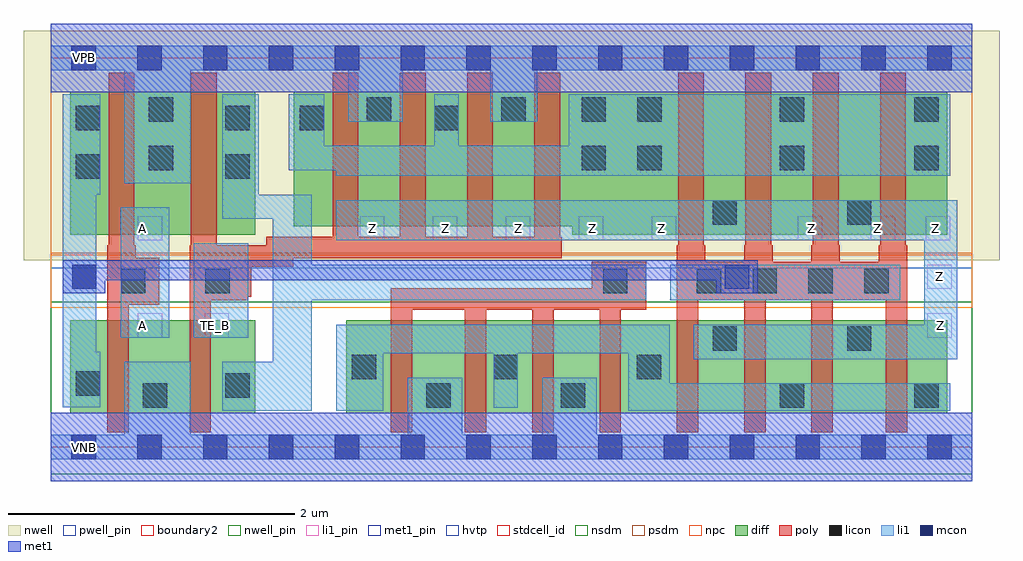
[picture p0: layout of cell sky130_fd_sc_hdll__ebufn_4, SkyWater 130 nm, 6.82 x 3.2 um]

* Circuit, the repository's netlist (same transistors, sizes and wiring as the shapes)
* Copyright 2020 The SkyWater PDK Authors
*
* Licensed under the Apache License, Version 2.0 (the "License");
* you may not use this file except in compliance with the License.
* You may obtain a copy of the License at
*
*     https://www.apache.org/licenses/LICENSE-2.0
*
* Unless required by applicable law or agreed to in writing, software
* distributed under the License is distributed on an "AS IS" BASIS,
* WITHOUT WARRANTIES OR CONDITIONS OF ANY KIND, either express or implied.
* See the License for the specific language governing permissions and
* limitations under the License.
*
* SPDX-License-Identifier: Apache-2.0

.SUBCKT sky130_fd_sc_hdll__ebufn_4 A TE_B VGND VNB VPB VPWR Z
*.PININFO A:I TE_B:I VGND:I VNB:I VPB:I VPWR:I Z:O
MMN0 Z net35 sndA VNB sky130_fd_pr__nfet_01v8 m=4 w=0.65U l=0.15U mult=1 sa=0.265
+ sb=0.265 sd=0.28 area=0.063 perim=1.14
MMN1 sndA net39 VGND VNB sky130_fd_pr__nfet_01v8 m=4 w=0.65U l=0.15U mult=1 sa=0.265
+ sb=0.265 sd=0.28 area=0.063 perim=1.14
MMIN1 net39 TE_B VGND VNB sky130_fd_pr__nfet_01v8 m=1 w=0.65U l=0.15U mult=1 sa=0.265
+ sb=0.265 sd=0.28 area=0.063 perim=1.14
MI6 net35 A VGND VNB sky130_fd_pr__nfet_01v8 m=1 w=0.65U l=0.15U mult=1 sa=0.265
+ sb=0.265 sd=0.28 area=0.063 perim=1.14
MMP0 VPWR TE_B sndTEB VPB sky130_fd_pr__pfet_01v8_hvt m=4 w=0.94U l=0.18U mult=1
+ sa=0.265 sb=0.265 sd=0.28 area=0.063 perim=1.14
MMP1 sndTEB net35 Z VPB sky130_fd_pr__pfet_01v8_hvt m=4 w=1.0U l=0.18U mult=1 sa=0.265
+ sb=0.265 sd=0.28 area=0.063 perim=1.14
MMIP1 net39 TE_B VPWR VPB sky130_fd_pr__pfet_01v8_hvt m=1 w=1.0U l=0.18U mult=1
+ sa=0.265 sb=0.265 sd=0.28 area=0.063 perim=1.14
MI5 net35 A VPWR VPB sky130_fd_pr__pfet_01v8_hvt m=1 w=1.0U l=0.18U mult=1 sa=0.265
+ sb=0.265 sd=0.28 area=0.063 perim=1.14
.ENDS sky130_fd_sc_hdll__ebufn_4

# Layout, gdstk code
import gdstk
lib = gdstk.Library(unit=1e-6, precision=1e-09)
def R(c, l, rs):  # rectangles x0, y0, x1, y1
    for r in rs: c.add(gdstk.rectangle(r[:2], r[2:], *l))
def A(c, l, x, y, w, h, nx, ny, dx, dy):  # array of equal rectangles
    R(c, l, [(x+i*dx, y+j*dy, x+i*dx+w, y+j*dy+h) for i in range(nx) for j in range(ny)])
def P(c, l, *ps):  # polygons
    for p in ps: c.add(gdstk.Polygon(p, *l))
nwell_pin = (64, 16)
nwell = (64, 20)
diff = (65, 20)
poly = (66, 20)
licon = (66, 44)
li1_pin = (67, 16)
li1 = (67, 20)
mcon = (67, 44)
met1_pin = (68, 16)
met1 = (68, 20)
hvtp = (78, 44)
stdcell_id = (81, 4)
nsdm = (93, 44)
psdm = (94, 20)
npc = (95, 20)
pwell_pin = (122, 16)
boundary2 = (236, 0)

sky130_fd_sc_hdll__ebufn = lib.new_cell('sky130_fd_sc_hdll__ebufn_4')
R(sky130_fd_sc_hdll__ebufn, nwell_pin, [(0.15,2.635,0.32,2.805)])
R(sky130_fd_sc_hdll__ebufn, nwell, [(-0.19,1.305,6.63,2.91)])
R(sky130_fd_sc_hdll__ebufn, diff, [(0.135,0.235,1.43,0.885), (2.065,0.235,6.265,0.885), (0.135,1.485,1.43,2.485)])
P(sky130_fd_sc_hdll__ebufn, diff, [(6.265,2.485),(1.7,2.485),(1.7,1.545),(3.645,1.545),(3.645,1.485),(6.265,1.485)])
P(sky130_fd_sc_hdll__ebufn, poly, [(0.76,1.325),(0.595,1.325),(0.595,1.41),(0.585,1.41),(0.585,2.615),(0.405,2.615),(0.405,1.41),(0.395,1.41),(0.395,0.105),(0.545,0.105),(0.545,0.995),(0.76,0.995)],
  [(3.57,1.47),(3.56,1.47),(3.56,2.615),(3.38,2.615),(3.38,1.47),(3.09,1.47),(3.09,2.615),(2.91,2.615),(2.91,1.47),(2.62,1.47),(2.62,2.615),(2.44,2.615),(2.44,1.47),(2.15,1.47),(2.15,2.615),(1.97,2.615),(1.97,1.47),(1.505,1.47),(1.505,1.41),(1.16,1.41),(1.16,2.615),(0.98,2.615),(0.98,1.41),(0.97,1.41),(0.97,0.105),(1.12,0.105),(1.12,1.025),(1.38,1.025),(1.38,1.05),(1.4,1.05),(1.4,1.26),(1.695,1.26),(1.695,1.32),(3.57,1.32)],
  [(4.16,1.295),(3.78,1.295),(3.78,1.11),(2.375,1.11),(2.375,0.105),(2.525,0.105),(2.525,0.96),(2.895,0.96),(2.895,0.105),(3.045,0.105),(3.045,0.96),(3.365,0.96),(3.365,0.105),(3.515,0.105),(3.515,0.96),(3.835,0.96),(3.835,0.105),(3.985,0.105),(3.985,0.96),(4.16,0.96)],
  [(5.985,1.41),(5.975,1.41),(5.975,2.615),(5.795,2.615),(5.795,1.41),(5.785,1.41),(5.785,1.295),(5.515,1.295),(5.515,1.41),(5.505,1.41),(5.505,2.615),(5.325,2.615),(5.325,1.41),(5.315,1.41),(5.315,1.295),(5.045,1.295),(5.045,1.41),(5.035,1.41),(5.035,2.615),(4.855,2.615),(4.855,1.41),(4.845,1.41),(4.845,1.295),(4.575,1.295),(4.575,1.41),(4.565,1.41),(4.565,2.615),(4.385,2.615),(4.385,1.41),(4.375,1.41),(4.375,0.105),(4.525,0.105),(4.525,1.025),(4.845,1.025),(4.845,0.105),(4.995,0.105),(4.995,1.025),(5.315,1.025),(5.315,0.105),(5.465,0.105),(5.465,1.025),(5.835,1.025),(5.835,0.105),(5.985,0.105)])
A(sky130_fd_sc_hdll__ebufn, licon, 4.515, 1.075, 0.17, 0.17, 4, 1, 0.39, 0)
R(sky130_fd_sc_hdll__ebufn, licon, [(0.645,0.275,0.815,0.445), (2.625,0.275,2.795,0.445), (3.565,0.275,3.735,0.445), (5.095,0.275,5.265,0.445), (6.035,0.275,6.205,0.445), (1.22,0.345,1.39,0.515), (0.175,0.36,0.345,0.53), (2.105,0.475,2.275,0.645), (3.095,0.475,3.265,0.645), (4.095,0.475,4.265,0.645), (4.625,0.675,4.795,0.845), (5.565,0.675,5.735,0.845), (0.49,1.075,0.66,1.245), (1.08,1.075,1.25,1.245), (3.86,1.075,4.03,1.245), (4.625,1.555,4.795,1.725), (5.565,1.555,5.735,1.725), (0.175,1.875,0.345,2.045), (1.22,1.875,1.39,2.045), (0.685,1.935,0.855,2.105), (3.71,1.935,3.88,2.105), (4.1,1.935,4.27,2.105), (5.095,1.935,5.265,2.105), (6.035,1.935,6.205,2.105), (0.175,2.215,0.345,2.385), (1.22,2.215,1.39,2.385), (1.74,2.215,1.91,2.385), (2.68,2.215,2.85,2.385), (0.685,2.275,0.855,2.445), (2.21,2.275,2.38,2.445), (3.15,2.275,3.32,2.445), (3.71,2.275,3.88,2.445), (4.1,2.275,4.27,2.445), (5.095,2.275,5.265,2.445), (6.035,2.275,6.205,2.445)])
A(sky130_fd_sc_hdll__ebufn, li1_pin, 2.16, 1.445, 0.17, 0.17, 5, 1, 0.51, 0)
R(sky130_fd_sc_hdll__ebufn, li1_pin, [(0.61,0.765,0.78,0.935), (1.075,0.765,1.245,0.935), (6.125,0.765,6.295,0.935), (6.125,1.105,6.295,1.275), (0.61,1.445,0.78,1.615), (5.22,1.445,5.39,1.615), (5.73,1.445,5.9,1.615), (6.115,1.445,6.285,1.615)])
R(sky130_fd_sc_hdll__ebufn, li1, [(0.49,0.765,0.83,1.675), (1,0.765,1.38,1.425), (4.33,1.025,5.935,1.275)])
P(sky130_fd_sc_hdll__ebufn, li1, [(6.44,0.085),(3.815,0.085),(3.815,0.485),(3.435,0.485),(3.435,0.085),(2.875,0.085),(2.875,0.485),(2.495,0.485),(2.495,0.085),(0.98,0.085),(0.98,0.595),(0.515,0.595),(0.515,0.085),(0,0.085),(0,-0.085),(6.44,-0.085)],
  [(6.285,2.465),(3.62,2.465),(3.62,2.105),(2.85,2.105),(2.85,2.465),(2.68,2.465),(2.68,2.105),(1.91,2.105),(1.91,2.465),(1.665,2.465),(1.665,1.935),(1.995,1.935),(1.995,1.895),(6.285,1.895)],
  [(6.285,0.445),(4.325,0.445),(4.325,0.855),(1.995,0.855),(1.995,0.255),(2.325,0.255),(2.325,0.655),(3.095,0.655),(3.095,0.275),(3.265,0.275),(3.265,0.655),(4.035,0.655),(4.035,0.255),(6.285,0.255)],
  [(4.16,1.275),(1.825,1.275),(1.825,1.765),(1.455,1.765),(1.455,2.465),(1.2,2.465),(1.2,1.595),(1.55,1.595),(1.55,0.595),(1.2,0.595),(1.2,0.255),(1.825,0.255),(1.825,1.025),(4.16,1.025)],
  [(0.345,0.665),(0.32,0.665),(0.32,1.765),(0.345,1.765),(0.345,2.465),(0.085,2.465),(0.085,0.28),(0.345,0.28)],
  [(6.44,2.805),(0,2.805),(0,2.635),(0.515,2.635),(0.515,1.845),(0.98,1.845),(0.98,2.635),(2.08,2.635),(2.08,2.275),(2.46,2.275),(2.46,2.635),(3.07,2.635),(3.07,2.275),(3.4,2.275),(3.4,2.635),(6.44,2.635)],
  [(6.335,1.725),(1.995,1.725),(1.995,1.445),(6.105,1.445),(6.105,0.855),(4.495,0.855),(4.495,0.615),(6.335,0.615)])
A(sky130_fd_sc_hdll__ebufn, mcon, 0.145, -0.085, 0.17, 0.17, 14, 2, 0.46, 2.72)
R(sky130_fd_sc_hdll__ebufn, mcon, [(0.15,1.105,0.32,1.275), (4.71,1.105,4.88,1.275)])
R(sky130_fd_sc_hdll__ebufn, met1_pin, [(0.15,-0.085,0.32,0.085), (0.15,2.635,0.32,2.805)])
R(sky130_fd_sc_hdll__ebufn, met1, [(0,-0.24,6.44,0.24), (0,2.48,6.44,2.96)])
P(sky130_fd_sc_hdll__ebufn, met1, [(4.94,1.305),(0.085,1.305),(0.085,1.075),(0.38,1.075),(0.38,1.165),(4.65,1.165),(4.65,1.075),(4.94,1.075)])
R(sky130_fd_sc_hdll__ebufn, hvtp, [(0,1.25,6.44,2.72)])
R(sky130_fd_sc_hdll__ebufn, stdcell_id, [(0,0,6.44,2.72)])
R(sky130_fd_sc_hdll__ebufn, nsdm, [(0,-0.19,6.44,1.015)])
R(sky130_fd_sc_hdll__ebufn, psdm, [(0,1.355,6.44,2.91)])
R(sky130_fd_sc_hdll__ebufn, npc, [(0,0.975,6.44,1.345)])
R(sky130_fd_sc_hdll__ebufn, pwell_pin, [(0.15,-0.085,0.32,0.085)])
R(sky130_fd_sc_hdll__ebufn, boundary2, [(0,0,6.44,2.72)])
sky130_fd_sc_hdll__ebufn.add(gdstk.Label('A', (0.645,0.85), layer=67, texttype=5))
sky130_fd_sc_hdll__ebufn.add(gdstk.Label('Z', (4.27,1.53), layer=67, texttype=5))
sky130_fd_sc_hdll__ebufn.add(gdstk.Label('Z', (3.785,1.53), layer=67, texttype=5))
sky130_fd_sc_hdll__ebufn.add(gdstk.Label('Z', (3.27,1.53), layer=67, texttype=5))
sky130_fd_sc_hdll__ebufn.add(gdstk.Label('Z', (2.76,1.53), layer=67, texttype=5))
sky130_fd_sc_hdll__ebufn.add(gdstk.Label('Z', (2.25,1.53), layer=67, texttype=5))
sky130_fd_sc_hdll__ebufn.add(gdstk.Label('Z', (6.22,0.85), layer=67, texttype=5))
sky130_fd_sc_hdll__ebufn.add(gdstk.Label('Z', (6.21,1.19), layer=67, texttype=5))
sky130_fd_sc_hdll__ebufn.add(gdstk.Label('Z', (5.775,1.53), layer=67, texttype=5))
sky130_fd_sc_hdll__ebufn.add(gdstk.Label('Z', (5.315,1.53), layer=67, texttype=5))
sky130_fd_sc_hdll__ebufn.add(gdstk.Label('TE_B', (1.155,0.85), layer=67, texttype=5))
sky130_fd_sc_hdll__ebufn.add(gdstk.Label('A', (0.645,1.53), layer=67, texttype=5))
sky130_fd_sc_hdll__ebufn.add(gdstk.Label('Z', (6.18,1.53), layer=67, texttype=5))
sky130_fd_sc_hdll__ebufn.add(gdstk.Label('VNB', (0.235,0), layer=64, texttype=59))
sky130_fd_sc_hdll__ebufn.add(gdstk.Label('VPB', (0.235,2.72), layer=64, texttype=5))
sky130_fd_sc_hdll__ebufn.add(gdstk.Label('VGND', (0.23,0), layer=68, texttype=5))
sky130_fd_sc_hdll__ebufn.add(gdstk.Label('VPWR', (0.23,2.72), layer=68, texttype=5))
sky130_fd_sc_hdll__ebufn.add(gdstk.Label('ebufn_4', (0,0), layer=83, texttype=44))

lib.write_gds('sky130_fd_sc_hdll__ebufn_4.gds')
